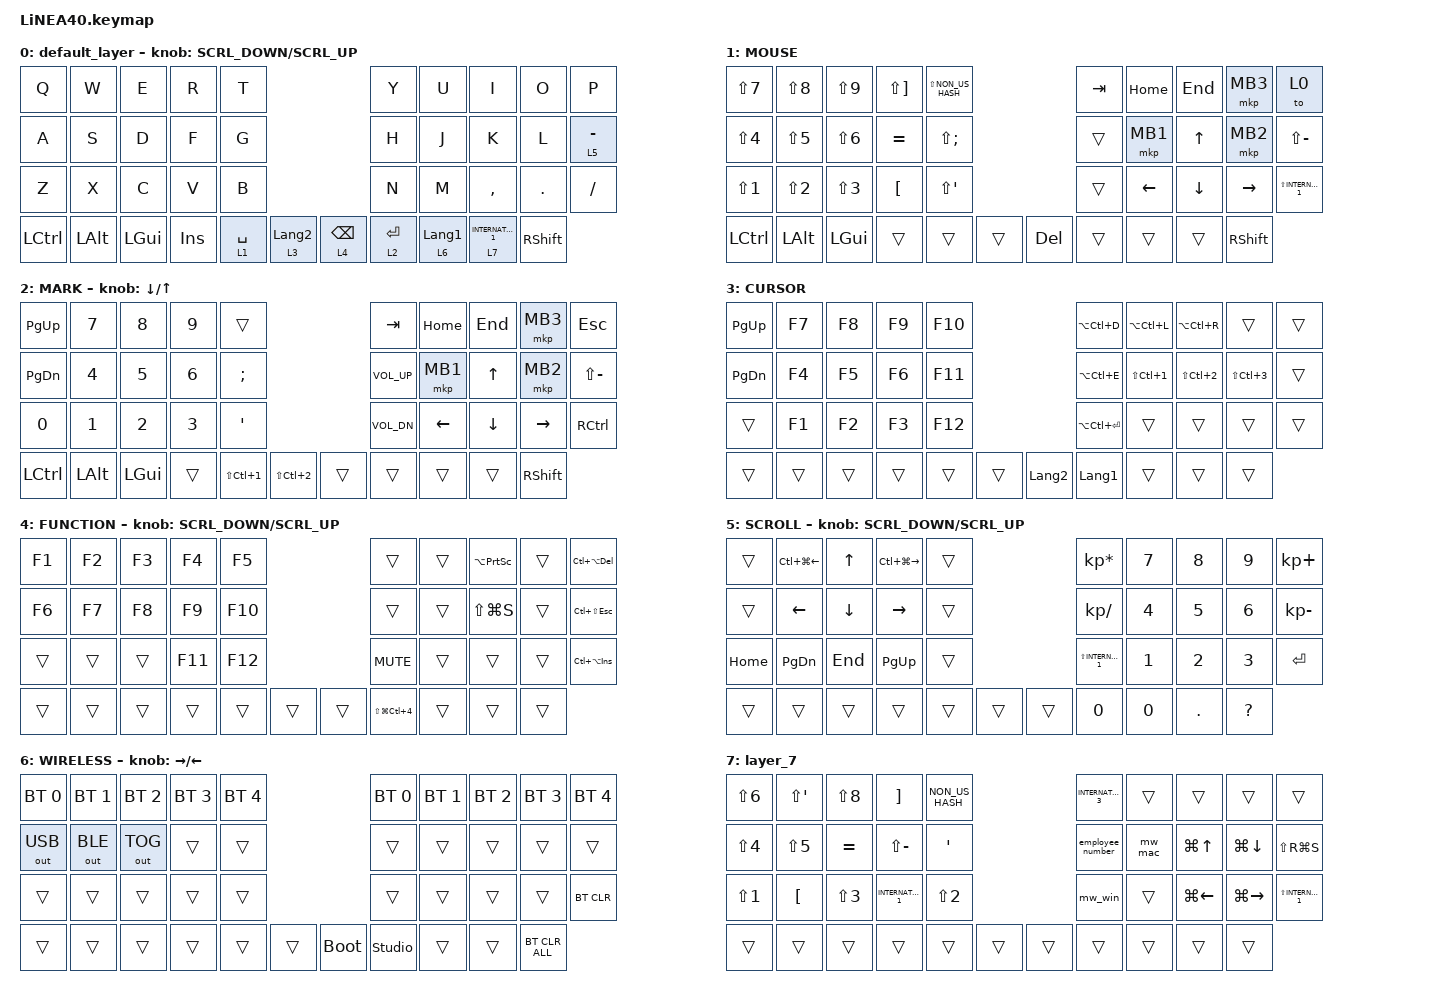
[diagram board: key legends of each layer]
#define ZMK_POINTING_DEFAULT_SCRL_VAL 150

#include <dt-bindings/zmk/input_transform.h>
#include <input/processors.dtsi>
#include <zephyr/dt-bindings/input/input-event-codes.h>
#include <behaviors.dtsi>
#include <dt-bindings/zmk/bt.h>
#include <dt-bindings/zmk/keys.h>
#include <dt-bindings/zmk/pointing.h>
#include <dt-bindings/zmk/outputs.h>

#define MOUSE 1
#define MARK 2
#define CURSOR 3
#define FUNCTION 4
#define SCROLL 5
#define WIRELESS 6

//mouse cursol

&mmv {
    delay-ms = <0>;
    trigger-period-ms = <8>;
    time-to-max-speed-ms = <500>;
    acceleration-exponent = <0>;
};

//mouse scroll

&msc {
    delay-ms = <0>;
    trigger-period-ms = <1>;
    time-to-max-speed-ms = <50>;
    acceleration-exponent = <0>;
};

/ {
    input_processors {
        zip_wheel_scaler: zip_wheel_scaler {
            compatible = "zmk,input-processor-scaler";
            #input-processor-cells = <2>;
            type = <INPUT_EV_REL>;
            codes = <INPUT_REL_WHEEL>;
            track-remainders;
        };

        zip_trackball_scroll_scaler: zip_trackball_scroll_scaler {
            compatible = "zmk,input-processor-scaler";
            #input-processor-cells = <2>;
            type = <INPUT_EV_REL>;
            codes = <INPUT_REL_X INPUT_REL_Y>;
            track-remainders;
        };
    };
};

&msc_input_listener {
    warp {
        layers = <5>;
        input-processors = <&zip_wheel_scaler 2 1>;
    };
    normal {
        layers = <4>;
        input-processors = <&zip_wheel_scaler 1 1>;
    };
    precision {
        layers = <0>;
        input-processors = <&zip_wheel_scaler 1 2>;
    };
};

&trackball_listener {
    scroller {
        layers = <SCROLL>;
        input-processors =
            <&zip_xy_transform INPUT_TRANSFORM_Y_INVERT>,
            <&zip_trackball_scroll_scaler 1 60>,
            <&zip_xy_to_scroll_mapper>;
    };
};

/ {
    /*
    combos {
        compatible = "zmk,combos";

        ZenkakuHankaku {
            bindings = <&kp GRAVE>;
            key-positions = <11 12>;
        };

        DeleteKey {
            bindings = <&kp DEL>;
            key-positions = <7 8>;
        };

        InsertKey {
            bindings = <&kp INS>;
            key-positions = <6 7>;
        };

        CenterClick {
            bindings = <&mkp MB3>;
            key-positions = <17 16>;
        };

        RightClick {
            bindings = <&mkp MB2>;
            key-positions = <18 17>;
        };

        PrevClick {
            bindings = <&mkp MB4>;
            key-positions = <27 28>;
        };

        ClickNext {
            bindings = <&mkp MB5>;
            key-positions = <26 27>;
        };
    };
    */

    behaviors {
        re_kp: sensor_rotate_kp {
            compatible = "zmk,behavior-sensor-rotate-var";
            #sensor-binding-cells = <2>;
            bindings = <&kp>, <&kp>;
        };

        mouse_scrl: mouse_wheel_scrl {
            compatible = "zmk,behavior-sensor-rotate-var";
            #sensor-binding-cells = <2>;
            bindings = <&msc>, <&msc>;

            tap-ms = <8>;
        };

        my_lt: layer_toggle {
            compatible = "zmk,behavior-hold-tap";
            #binding-cells = <2>;
            flavor = "tap-preferred";
            tapping-term-ms = <250>;
            quick-tap-ms = <150>;
            require-prior-idle-ms = <150>;
            bindings = <&mo>, <&kp>;
        };

        my_lt_ime: layer_toggle_ime {
            compatible = "zmk,behavior-hold-tap";
            #binding-cells = <2>;
            flavor = "tap-preferred";
            tapping-term-ms = <300>;
            quick-tap-ms = <150>;
            require-prior-idle-ms = <100>;
            bindings = <&mo>, <&kp>;
        };

        mt_gui: mt_gui {
            compatible = "zmk,behavior-hold-tap";
            #binding-cells = <2>;
            flavor = "hold-preferred";
            tapping-term-ms = <180>;
            quick-tap-ms = <200>;
            require-prior-idle-ms = <200>;
            bindings = <&kp>, <&kp>;
        };
    };

    macros {
        employee_number: employee_number {
            compatible = "zmk,behavior-macro";
            #binding-cells = <0>;
            bindings = <&none &kp A &kp B &kp N0 &kp N2 &kp N4 &kp N0 &kp N8 &kp N3>;
            label = "EMPLOYEE_NUMBER";
        };

        mw_mac: my_word {
            compatible = "zmk,behavior-macro";
            #binding-cells = <0>;
            bindings = <&none &kp N &kp POUND &kp AT &kp T &kp S &kp U &kp H &kp AT &kp LS(Y) &kp N0 &kp LS(R) &kp U>;
            label = "MY_WORD";
        };

        mw_win: my_word_2 {
            compatible = "zmk,behavior-macro";
            #binding-cells = <0>;
            bindings = <&none &kp N &kp POUND &kp LEFT_BRACKET &kp T &kp S &kp U &kp H &kp LEFT_BRACKET &kp LS(Y) &kp N0 &kp LS(R) &kp U>;
            label = "MY_WORD_2";
        };
    };

    keymap {
        compatible = "zmk,keymap";

        default_layer {
            bindings = <
&kp Q      &kp W         &kp E         &kp R    &kp T                                                              &kp Y               &kp U  &kp I                &kp O               &kp P
&kp A      &kp S         &kp D         &kp F    &kp G                                                              &kp H               &kp J  &kp K                &kp L               &my_lt_ime 5 MINUS
&kp Z      &kp X         &kp C         &kp V    &kp B                                                              &kp N               &kp M  &kp COMMA            &kp DOT             &kp SLASH
&kp LCTRL  &kp LEFT_ALT  &kp LEFT_GUI  &kp INS  &my_lt_ime 1 SPACE  &my_lt_ime 3 LANGUAGE_2    &my_lt 4 BACKSPACE  &my_lt_ime 2 ENTER         &my_lt 6 LANGUAGE_1  &my_lt 7 INTERNATIONAL_1  &kp RIGHT_SHIFT
            >;

            sensor-bindings = <&mouse_scrl SCRL_DOWN SCRL_UP>;
        };

        //1

        MOUSE {
            bindings = <
&kp LS(N7)                &kp LS(N8)                &kp LS(N9)                &kp LS(RIGHT_BRACKET)     &kp LS(NON_US_HASH)    &kp TAB                   &kp HOME                  &kp END                   &mkp MB3                  &to 0
&kp LS(N4)                &kp LS(N5)                &kp LS(N6)                &kp EQUAL                 &kp LS(SEMICOLON)    &trans                    &mkp MB1                  &kp UP_ARROW              &mkp MB2                  &kp LS(MINUS)
&kp LS(N1)                &kp LS(N2)                &kp LS(N3)                &kp LEFT_BRACKET          &kp LS(APOS)    &trans                    &kp LEFT_ARROW            &kp DOWN_ARROW            &kp RIGHT_ARROW           &kp LS(INTERNATIONAL_1)
&kp LCTRL         &kp LEFT_ALT      &kp LEFT_GUI      &trans            &trans            &trans    &kp DELETE  &trans                   &trans          &trans           &kp RIGHT_SHIFT
            >;
        };

        //2

        MARK {
            bindings = <
&kp PAGE_UP    &kp NUMBER_7  &kp NUMBER_8  &kp NUMBER_9  &trans                                                &kp TAB          &kp HOME        &kp END         &mkp MB3         &kp ESCAPE
&kp PAGE_DOWN  &kp NUMBER_4  &kp NUMBER_5  &kp NUMBER_6  &kp SEMICOLON                                         &kp C_VOLUME_UP  &mkp MB1        &kp UP_ARROW    &mkp MB2         &kp LS(MINUS)
&kp NUMBER_0   &kp NUMBER_1  &kp NUMBER_2  &kp NUMBER_3  &kp APOSTROPHE                                             &kp C_VOL_DN     &kp LEFT_ARROW  &kp DOWN_ARROW  &kp RIGHT_ARROW  &kp RIGHT_CONTROL
&kp LCTRL      &kp LEFT_ALT  &kp LEFT_GUI  &trans        &kp LS(LC(NUMBER_1))  &kp LS(LC(NUMBER_2))    &trans  &trans                           &trans          &trans           &kp RIGHT_SHIFT
            >;

            sensor-bindings = <&inc_dec_kp DOWN UP_ARROW>;
        };

        //3

        CURSOR {
            bindings = <
&kp PAGE_UP    &kp F7  &kp F8  &kp F9  &kp F10                            &kp LA(LC(D))       &kp LA(LC(L))         &kp LA(LC(R))         &trans                &trans
&kp PAGE_DOWN  &kp F4  &kp F5  &kp F6  &kp F11                            &kp LA(LC(E))       &kp LS(LC(NUMBER_1))  &kp LS(LC(NUMBER_2))  &kp LS(LC(NUMBER_3))  &trans
&trans         &kp F1  &kp F2  &kp F3  &kp F12                            &kp LA(LC(RETURN))  &trans                &trans                &trans                &trans
&trans         &trans  &trans  &trans  &trans   &trans    &kp LANGUAGE_2  &kp LANGUAGE_1                            &trans                &trans                &trans
            >;
        };

        //4

        FUNCTION {
            bindings = <
&kp F1  &kp F2  &kp F3  &kp F4   &kp F5                     &trans                    &trans  &kp LA(PRINTSCREEN)  &trans  &kp LC(LA(DELETE))
&kp F6  &kp F7  &kp F8  &kp F9   &kp F10                    &trans                    &trans  &kp LS(LG(S))        &trans  &kp LC(LS(ESCAPE))
&trans  &trans  &trans  &kp F11  &kp F12                    &kp C_MUTE                &trans  &trans               &trans  &kp LC(LA(INS))
&trans  &trans  &trans  &trans   &trans   &trans    &trans  &kp LS(LG(LC(NUMBER_4)))          &trans               &trans  &trans
            >;

            sensor-bindings = <&mouse_scrl SCRL_DOWN SCRL_UP>;
        };

        //5

        SCROLL {
            bindings = <
&trans    &kp LC(LG(LEFT_ARROW))  &kp UP_ARROW  &kp LC(LG(RIGHT_ARROW))  &trans                    &kp KP_MULTIPLY  &kp NUMBER_7  &kp NUMBER_8  &kp NUMBER_9  &kp KP_PLUS
&trans    &kp LEFT_ARROW          &kp DOWN      &kp RIGHT_ARROW          &trans                    &kp KP_SLASH     &kp NUMBER_4  &kp NUMBER_5  &kp NUMBER_6  &kp KP_MINUS
&kp HOME  &kp PAGE_DOWN           &kp END       &kp PAGE_UP              &trans                    &kp LS(INTERNATIONAL_1)        &kp NUMBER_1  &kp NUMBER_2  &kp NUMBER_3  &kp ENTER
&trans    &trans                  &trans        &trans                   &trans  &trans    &trans  &kp NUMBER_0                   &kp NUMBER_0  &kp DOT       &kp QUESTION
            >;

            sensor-bindings = <&mouse_scrl SCRL_DOWN SCRL_UP>;
        };

        //6

        WIRELESS {
            bindings = <
&bt BT_SEL 0  &bt BT_SEL 1  &bt BT_SEL 2  &bt BT_SEL 3  &bt BT_SEL 4                         &bt BT_SEL 0    &bt BT_SEL 1  &bt BT_SEL 2  &bt BT_SEL 3  &bt BT_SEL 4
&out OUT_USB  &out OUT_BLE  &out OUT_TOG  &trans        &trans                               &trans          &trans        &trans        &trans        &trans
&trans        &trans        &trans        &trans        &trans                               &trans          &trans        &trans        &trans        &bt BT_CLR
&trans        &trans        &trans        &trans        &trans        &trans    &bootloader  &studio_unlock                &trans        &trans        &bt BT_CLR_ALL
            >;

            sensor-bindings = <&inc_dec_kp RIGHT_ARROW LEFT_ARROW>;
        };

        //7

        layer_7 {
            bindings = <
&kp LS(N6)                &kp LS(APOS)              &kp LS(N8)                &kp RIGHT_BRACKET         &kp NON_US_HASH    &kp INTERNATIONAL_3       &trans                    &trans                    &trans                    &trans
&kp LS(N4)                &kp LS(N5)                &kp EQUAL                 &kp LS(MINUS)             &kp APOS    &employee_number          &mw_mac                   &kp LG(UP_ARROW)          &kp LG(DOWN_ARROW)        &kp LS(RG(S))
&kp LS(N1)                &kp LEFT_BRACKET          &kp LS(N3)                &kp INTERNATIONAL_1       &kp LS(N2)    &mw_win                   &trans                    &kp LG(LEFT_ARROW)        &kp LG(RIGHT_ARROW)       &kp LS(INTERNATIONAL_1)
&trans            &trans            &trans            &trans            &trans              &trans    &trans  &trans                        &trans              &trans               &trans
            >;
        };
    };
};
